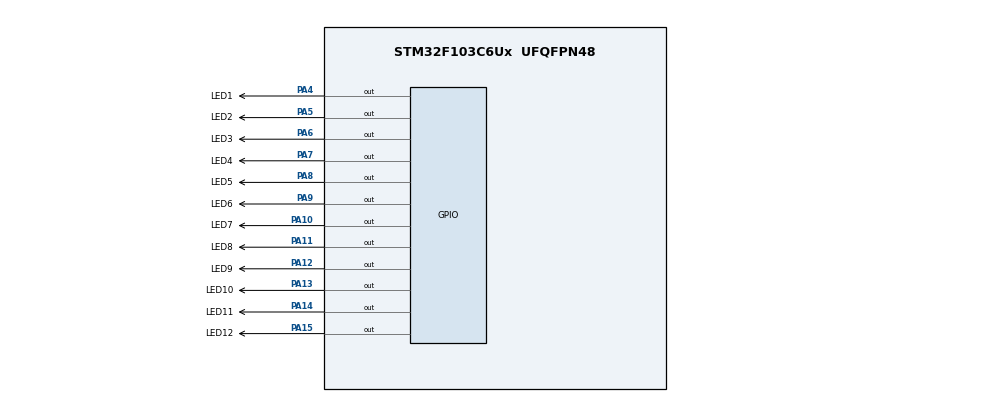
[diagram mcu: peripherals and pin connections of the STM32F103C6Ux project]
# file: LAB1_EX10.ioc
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Mcu.Family=STM32F1
Mcu.Name=STM32F103C6Ux
Mcu.Package=UFQFPN48
NVIC.PriorityGroup=NVIC_PRIORITYGROUP_4
PA10.GPIO_Label=LED7
PA10.PinState=GPIO_PIN_RESET
PA10.Signal=GPIO_Output
PA11.GPIO_Label=LED8
PA11.PinState=GPIO_PIN_RESET
PA11.Signal=GPIO_Output
PA12.GPIO_Label=LED9
PA12.PinState=GPIO_PIN_RESET
PA12.Signal=GPIO_Output
PA13.GPIO_Label=LED10
PA13.PinState=GPIO_PIN_RESET
PA13.Signal=GPIO_Output
PA14.GPIO_Label=LED11
PA14.PinState=GPIO_PIN_RESET
PA14.Signal=GPIO_Output
PA15.GPIO_Label=LED12
PA15.PinState=GPIO_PIN_RESET
PA15.Signal=GPIO_Output
PA4.GPIO_Label=LED1
PA4.PinState=GPIO_PIN_RESET
PA4.Signal=GPIO_Output
PA5.GPIO_Label=LED2
PA5.PinState=GPIO_PIN_RESET
PA5.Signal=GPIO_Output
PA6.GPIO_Label=LED3
PA6.PinState=GPIO_PIN_RESET
PA6.Signal=GPIO_Output
PA7.GPIO_Label=LED4
PA7.PinState=GPIO_PIN_RESET
PA7.Signal=GPIO_Output
PA8.GPIO_Label=LED5
PA8.PinState=GPIO_PIN_RESET
PA8.Signal=GPIO_Output
PA9.GPIO_Label=LED6
PA9.PinState=GPIO_PIN_RESET
PA9.Signal=GPIO_Output
ProjectManager.HeapSize=0x200
ProjectManager.StackSize=0x400
ProjectManager.TargetToolchain=STM32CubeIDE
RCC.APB1Freq_Value=8000000
RCC.APB2Freq_Value=8000000
VP_SYS_VS_ND.Mode=No_Debug
board=custom

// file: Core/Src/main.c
/* USER CODE BEGIN Header */
/**
  ******************************************************************************
  * @file           : main.c
  * @brief          : Main program body
  ******************************************************************************
  * @attention
  *
  * <h2><center>&copy; Copyright (c) 2025 STMicroelectronics.
  * All rights reserved.</center></h2>
  *
  * This software component is licensed by ST under BSD 3-Clause license,
  * the "License"; You may not use this file except in compliance with the
  * License. You may obtain a copy of the License at:
  *                        opensource.org/licenses/BSD-3-Clause
  *
  ******************************************************************************
  */
/* USER CODE END Header */
#include "main.h"

void SystemClock_Config(void);
static void MX_GPIO_Init(void);

int main(void)
{

  /* MCU Configuration--------------------------------------------------------*/

  /* Reset of all peripherals, Initializes the Flash interface and the Systick. */
  HAL_Init();

  /* Configure the system clock */
  SystemClock_Config();

  /* Initialize all configured peripherals */
  MX_GPIO_Init();

  /* Infinite loop */
  /* USER CODE BEGIN WHILE */

  void setNumberOnClock(int num){
	  switch(num){

	    case 0: HAL_GPIO_WritePin(LED1_GPIO_Port, LED1_Pin, GPIO_PIN_RESET); break;
	    case 1: HAL_GPIO_WritePin(LED2_GPIO_Port, LED2_Pin, GPIO_PIN_RESET); break;
	    case 2: HAL_GPIO_WritePin(LED3_GPIO_Port, LED3_Pin, GPIO_PIN_RESET); break;
	    case 3: HAL_GPIO_WritePin(LED4_GPIO_Port, LED4_Pin, GPIO_PIN_RESET); break;
	    case 4: HAL_GPIO_WritePin(LED5_GPIO_Port, LED5_Pin, GPIO_PIN_RESET); break;
	    case 5: HAL_GPIO_WritePin(LED6_GPIO_Port, LED6_Pin, GPIO_PIN_RESET); break;
	    case 6: HAL_GPIO_WritePin(LED7_GPIO_Port, LED7_Pin, GPIO_PIN_RESET); break;
	    case 7: HAL_GPIO_WritePin(LED8_GPIO_Port, LED8_Pin, GPIO_PIN_RESET); break;
	    case 8: HAL_GPIO_WritePin(LED9_GPIO_Port, LED9_Pin, GPIO_PIN_RESET); break;
	    case 9: HAL_GPIO_WritePin(LED10_GPIO_Port, LED10_Pin, GPIO_PIN_RESET); break;
	    case 10: HAL_GPIO_WritePin(LED11_GPIO_Port, LED11_Pin, GPIO_PIN_RESET); break;
	    case 11: HAL_GPIO_WritePin(LED12_GPIO_Port, LED12_Pin, GPIO_PIN_RESET); break;
	              default: break;
	      }
      }
   void clearNumberOnClock(int num){
	   switch(num){

	   	    case 0: HAL_GPIO_WritePin(LED1_GPIO_Port, LED1_Pin, GPIO_PIN_SET); break;
	   	    case 1: HAL_GPIO_WritePin(LED2_GPIO_Port, LED2_Pin, GPIO_PIN_SET); break;
	   	    case 2: HAL_GPIO_WritePin(LED3_GPIO_Port, LED3_Pin, GPIO_PIN_SET); break;
	   	    case 3: HAL_GPIO_WritePin(LED4_GPIO_Port, LED4_Pin, GPIO_PIN_SET); break;
	   	    case 4: HAL_GPIO_WritePin(LED5_GPIO_Port, LED5_Pin, GPIO_PIN_SET); break;
	   	    case 5: HAL_GPIO_WritePin(LED6_GPIO_Port, LED6_Pin, GPIO_PIN_SET); break;
	   	    case 6: HAL_GPIO_WritePin(LED7_GPIO_Port, LED7_Pin, GPIO_PIN_SET); break;
	   	    case 7: HAL_GPIO_WritePin(LED8_GPIO_Port, LED8_Pin, GPIO_PIN_SET); break;
	   	    case 8: HAL_GPIO_WritePin(LED9_GPIO_Port, LED9_Pin, GPIO_PIN_SET); break;
	   	    case 9: HAL_GPIO_WritePin(LED10_GPIO_Port, LED10_Pin, GPIO_PIN_SET); break;
	   	    case 10: HAL_GPIO_WritePin(LED11_GPIO_Port, LED11_Pin, GPIO_PIN_SET); break;
	   	    case 11: HAL_GPIO_WritePin(LED12_GPIO_Port, LED12_Pin, GPIO_PIN_SET); break;
	   	              default: break;
	   	      }
      }
   void clearAllClock(){
          HAL_GPIO_WritePin(LED1_GPIO_Port, LED1_Pin, GPIO_PIN_SET);
	      HAL_GPIO_WritePin(LED2_GPIO_Port, LED2_Pin, GPIO_PIN_SET);
	      HAL_GPIO_WritePin(LED3_GPIO_Port, LED3_Pin, GPIO_PIN_SET);
	      HAL_GPIO_WritePin(LED4_GPIO_Port, LED4_Pin, GPIO_PIN_SET);
	      HAL_GPIO_WritePin(LED5_GPIO_Port, LED5_Pin, GPIO_PIN_SET);
	      HAL_GPIO_WritePin(LED6_GPIO_Port, LED6_Pin, GPIO_PIN_SET);
	      HAL_GPIO_WritePin(LED7_GPIO_Port, LED7_Pin, GPIO_PIN_SET);
	      HAL_GPIO_WritePin(LED8_GPIO_Port, LED8_Pin, GPIO_PIN_SET);
	      HAL_GPIO_WritePin(LED9_GPIO_Port, LED9_Pin, GPIO_PIN_SET);
	      HAL_GPIO_WritePin(LED10_GPIO_Port, LED10_Pin, GPIO_PIN_SET);
	      HAL_GPIO_WritePin(LED11_GPIO_Port, LED11_Pin, GPIO_PIN_SET);
	      HAL_GPIO_WritePin(LED12_GPIO_Port, LED12_Pin, GPIO_PIN_SET);}

  int second = 0 ;
  int minute = 29 ;
  int hour  = 3 ;
   while (1)
  { clearAllClock();

    int second_idx= second /5;
    int minute_idx= minute/5;
    int hour_idx= hour%12;
    setNumberOnClock(hour_idx);
    setNumberOnClock(minute_idx);
    setNumberOnClock(second_idx);
    second++;

    if (second >=60){
    	second = 0;
    	minute ++;
    	if( minute >= 60){
    		minute =0;
    		hour ++;
    		if (hour >=12){
    			hour = 0;
    		}
    	}
    }
    HAL_Delay(100);
    /* USER CODE END WHILE */

  }
}

void SystemClock_Config(void)
{
  RCC_OscInitTypeDef RCC_OscInitStruct = {0};
  RCC_ClkInitTypeDef RCC_ClkInitStruct = {0};

  /** Initializes the RCC Oscillators according to the specified parameters
  * in the RCC_OscInitTypeDef structure.
  */
  RCC_OscInitStruct.OscillatorType = RCC_OSCILLATORTYPE_HSI;
  RCC_OscInitStruct.HSIState = RCC_HSI_ON;
  RCC_OscInitStruct.HSICalibrationValue = RCC_HSICALIBRATION_DEFAULT;
  RCC_OscInitStruct.PLL.PLLState = RCC_PLL_NONE;
  if (HAL_RCC_OscConfig(&RCC_OscInitStruct) != HAL_OK)
  {
    Error_Handler();
  }
  /** Initializes the CPU, AHB and APB buses clocks
  */
  RCC_ClkInitStruct.ClockType = RCC_CLOCKTYPE_HCLK|RCC_CLOCKTYPE_SYSCLK
                              |RCC_CLOCKTYPE_PCLK1|RCC_CLOCKTYPE_PCLK2;
  RCC_ClkInitStruct.SYSCLKSource = RCC_SYSCLKSOURCE_HSI;
  RCC_ClkInitStruct.AHBCLKDivider = RCC_SYSCLK_DIV1;
  RCC_ClkInitStruct.APB1CLKDivider = RCC_HCLK_DIV1;
  RCC_ClkInitStruct.APB2CLKDivider = RCC_HCLK_DIV1;

  if (HAL_RCC_ClockConfig(&RCC_ClkInitStruct, FLASH_LATENCY_0) != HAL_OK)
  {
    Error_Handler();
  }
}

static void MX_GPIO_Init(void)
{
  GPIO_InitTypeDef GPIO_InitStruct = {0};

  /* GPIO Ports Clock Enable */
  __HAL_RCC_GPIOA_CLK_ENABLE();

  /*Configure GPIO pin Output Level */
  HAL_GPIO_WritePin(GPIOA, LED1_Pin|LED2_Pin|LED3_Pin|LED4_Pin
                          |LED5_Pin|LED6_Pin|LED7_Pin|LED8_Pin
                          |LED9_Pin|LED10_Pin|LED11_Pin|LED12_Pin, GPIO_PIN_RESET);

  /*Configure GPIO pins : LED1_Pin LED2_Pin LED3_Pin LED4_Pin
                           LED5_Pin LED6_Pin LED7_Pin LED8_Pin
                           LED9_Pin LED10_Pin LED11_Pin LED12_Pin */
  GPIO_InitStruct.Pin = LED1_Pin|LED2_Pin|LED3_Pin|LED4_Pin
                          |LED5_Pin|LED6_Pin|LED7_Pin|LED8_Pin
                          |LED9_Pin|LED10_Pin|LED11_Pin|LED12_Pin;
  GPIO_InitStruct.Mode = GPIO_MODE_OUTPUT_PP;
  GPIO_InitStruct.Pull = GPIO_NOPULL;
  GPIO_InitStruct.Speed = GPIO_SPEED_FREQ_LOW;
  HAL_GPIO_Init(GPIOA, &GPIO_InitStruct);

}

void Error_Handler(void)
{
  __disable_irq();
  while (1)
  {
  }
}

/************************ (C) COPYRIGHT STMicroelectronics *****END OF FILE****/
